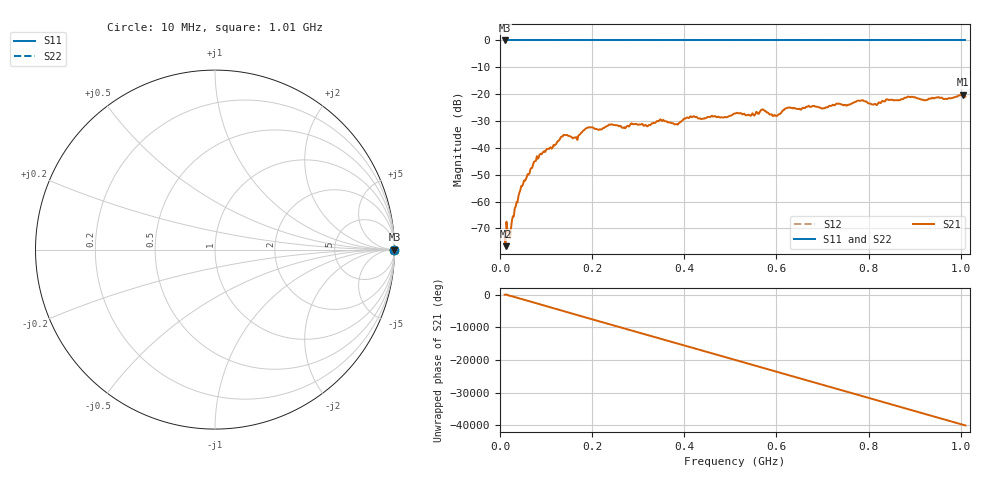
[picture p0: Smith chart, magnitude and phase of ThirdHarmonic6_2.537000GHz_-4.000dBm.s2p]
! 8/17/2025 5:05:47 AM
! C:\ANRITSUVNA\TEMP\TEMP.S2P
! CHANNEL.1
! TR.MEASUREMENT
! RAW.DATA
! RF.CORRECTION.OFF
! AVERAGING.OFF
! IF.BANDWIDTH: 5KHZ
! SWEEPTYPE:  FREQ.SWEEP(Linear)
! Reference Plane Port Info
! PORT:  PORT1  PORT2
! DISTANCE:  0  m  0  m
! TIME:  0  s  0  s
! PHASE.OFFSET:  0  deg.  0  deg.
! LOSS:  0  dB  0  dB
! REF.LOSS:  0  dB  0  dB
! REF.FREQ:  0  Hz  0  Hz
! Power Info
! POWER:  -20  dBm  -20  dBm
! EFF.POWER:  -20  dBm  -20  dBm
! SOURCE.ATTEN:  0  dB  0  dB
! TEST.ATTEN:  0  dB  0  dB
# GHZ S RI R 50.0
! FREQ.GHZ  S11RE  S11IM  S21RE  S21IM  S12RE  S12IM  S22RE  S22IM
!; PortSelection: Port_12
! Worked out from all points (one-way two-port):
!   501 points, 10 MHz to 1.01 GHz, reference 50 ohm
!   highest |S21| = -20.22 dB at 1.004 GHz (marker M1); lowest = -76.6 dB at 12 MHz (marker M2)
!   lowest |S11| = 0.0 dB at 10 MHz (marker M3)
!   |S11| at or under -10 dB: nowhere
!   |S22| runs from 0.0 to 0.0 dB; largest |S21 - S12| = 1.1
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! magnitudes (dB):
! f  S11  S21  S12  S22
! 10 MHz  0.0  -73.2  0.0  0.0
! 12 MHz  0.0  -76.6  0.0  0.0
! 22 MHz  0.0  -73.6  0.0  0.0
! 48 MHz  0.0  -54.2  0.0  0.0
! 76 MHz  0.0  -44.9  0.0  0.0
! 136 MHz  0.0  -35.7  0.0  0.0
! 164 MHz  0.0  -36.2  0.0  0.0
! 178 MHz  0.0  -34.2  0.0  0.0
! 344 MHz  0.0  -30.1  0.0  0.0
! 382 MHz  0.0  -31.2  0.0  0.0
! 416 MHz  0.0  -28.5  0.0  0.0
! 510 MHz  0.0  -27.2  0.0  0.0
! 548 MHz  0.0  -27.1  0.0  0.0
! 570 MHz  0.0  -25.7  0.0  0.0
! 596 MHz  0.0  -27.7  0.0  0.0
! 624 MHz  0.0  -25.1  0.0  0.0
! 678 MHz  0.0  -24.4  0.0  0.0
! 784 MHz  0.0  -22.4  0.0  0.0
! 814 MHz  0.0  -23.6  0.0  0.0
! 844 MHz  0.0  -22.2  0.0  0.0
! 1.004 GHz  0.0  -20.2  0.0  0.0
! 1.01 GHz  0.0  -20.9  0.0  0.0
